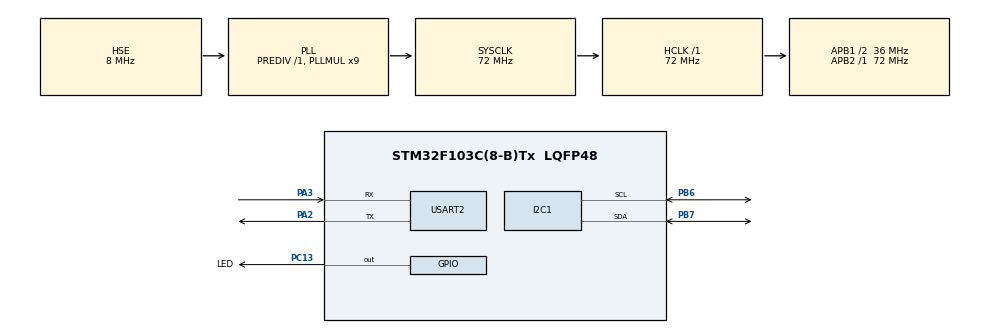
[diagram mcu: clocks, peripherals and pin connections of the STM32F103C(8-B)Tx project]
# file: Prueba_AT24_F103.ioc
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I2C1.DutyCycle=I2C_DUTYCYCLE_2
I2C1.I2C_Mode=I2C_Fast
Mcu.Family=STM32F1
Mcu.Name=STM32F103C(8-B)Tx
Mcu.Package=LQFP48
NVIC.PriorityGroup=NVIC_PRIORITYGROUP_4
PA13.Mode=Serial_Wire
PA13.Signal=SYS_JTMS-SWDIO
PA14.Mode=Serial_Wire
PA14.Signal=SYS_JTCK-SWCLK
PA2.Mode=Asynchronous
PA2.Signal=USART2_TX
PA3.Mode=Asynchronous
PA3.Signal=USART2_RX
PB6.Mode=I2C
PB6.Signal=I2C1_SCL
PB7.Mode=I2C
PB7.Signal=I2C1_SDA
PC13-TAMPER-RTC.GPIO_Label=LED
PC13-TAMPER-RTC.GPIO_ModeDefaultOutputPP=GPIO_MODE_OUTPUT_OD
PC13-TAMPER-RTC.GPIO_PuPd=GPIO_NOPULL
PC13-TAMPER-RTC.PinState=GPIO_PIN_SET
PC13-TAMPER-RTC.Signal=GPIO_Output
PD0-OSC_IN.Mode=HSE-External-Oscillator
PD0-OSC_IN.Signal=RCC_OSC_IN
PD1-OSC_OUT.Mode=HSE-External-Oscillator
PD1-OSC_OUT.Signal=RCC_OSC_OUT
ProjectManager.HeapSize=0x200
ProjectManager.StackSize=0x400
ProjectManager.TargetToolchain=STM32CubeIDE
RCC.AHBFreq_Value=72000000
RCC.APB1CLKDivider=RCC_HCLK_DIV2
RCC.APB1Freq_Value=36000000
RCC.APB1TimFreq_Value=72000000
RCC.APB2Freq_Value=72000000
RCC.APB2TimFreq_Value=72000000
RCC.HCLKFreq_Value=72000000
RCC.PLLMUL=RCC_PLL_MUL9
RCC.PLLSourceVirtual=RCC_PLLSOURCE_HSE
RCC.SYSCLKFreq_VALUE=72000000
RCC.SYSCLKSource=RCC_SYSCLKSOURCE_PLLCLK
RCC.USBFreq_Value=72000000
USART2.VirtualMode=VM_ASYNC
board=custom

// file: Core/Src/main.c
/* USER CODE BEGIN Header */
/**
  ******************************************************************************
  * @file           : main.c
  * @brief          : Main program body
  ******************************************************************************
  * @attention
  *
  * Copyright (c) 2024 STMicroelectronics.
  * All rights reserved.
  *
  * This software is licensed under terms that can be found in the LICENSE file
  * in the root directory of this software component.
  * If no LICENSE file comes with this software, it is provided AS-IS.
  *
  ******************************************************************************
  */
/* USER CODE END Header */
#include "main.h"

/* USER CODE BEGIN Includes */
#include "at24.h"
#include <stdio.h>
/* USER CODE END Includes */

I2C_HandleTypeDef hi2c1;

UART_HandleTypeDef huart2;

void SystemClock_Config(void);
static void MX_GPIO_Init(void);
static void MX_I2C1_Init(void);
static void MX_USART2_UART_Init(void);

/* USER CODE BEGIN 0 */
int _write(int fd, char* ptr, int len)
{
	HAL_UART_Transmit(&huart2, (uint8_t *) ptr, len, HAL_MAX_DELAY);
	return len;
}
/* USER CODE END 0 */

int main(void)
{
  /* USER CODE BEGIN 1 */

	const uint8_t device = 0xA0U; //Dirección del dispositivo

	int i;

  /* USER CODE END 1 */

  /* MCU Configuration--------------------------------------------------------*/

  /* Reset of all peripherals, Initializes the Flash interface and the Systick. */
  HAL_Init();

  /* Configure the system clock */
  SystemClock_Config();

  /* Initialize all configured peripherals */
  MX_GPIO_Init();
  MX_I2C1_Init();
  MX_USART2_UART_Init();
  /* USER CODE BEGIN 2 */

  printf("\n*** Programa de muestra en memoria ***\n\n");

  printf("Se van a guardar 8 bits en la memoria.\n");

  AT24_WriteByte(device, 0, 0x55U);

  for(i=1; i < 8; i++)
	  AT24_WriteByte(device, i, i);

  HAL_GPIO_WritePin(LED_GPIO_Port, LED_Pin, GPIO_PIN_RESET);

  printf("Se han a guardado los datos en la memoria.\n");

  /* USER CODE END 2 */

  /* Infinite loop */
  while (1)
  {

    /* USER CODE BEGIN 3 */
	  uint8_t dato;
	  printf("\nSe van a leer los datos en la memoria.\n");
	  for(i=0; i < 8; i++)
	  {
		  dato = AT24_ReadByte(device, i);
		  printf("Dato %d: 0x%.2X (%d)\n", i, dato, dato);
	  }

	  HAL_GPIO_TogglePin(LED_GPIO_Port, LED_Pin);
	  HAL_Delay(1000);
  }
  /* USER CODE END 3 */
}

void SystemClock_Config(void)
{
  RCC_OscInitTypeDef RCC_OscInitStruct = {0};
  RCC_ClkInitTypeDef RCC_ClkInitStruct = {0};

  /** Initializes the RCC Oscillators according to the specified parameters
  * in the RCC_OscInitTypeDef structure.
  */
  RCC_OscInitStruct.OscillatorType = RCC_OSCILLATORTYPE_HSE;
  RCC_OscInitStruct.HSEState = RCC_HSE_ON;
  RCC_OscInitStruct.HSEPredivValue = RCC_HSE_PREDIV_DIV1;
  RCC_OscInitStruct.HSIState = RCC_HSI_ON;
  RCC_OscInitStruct.PLL.PLLState = RCC_PLL_ON;
  RCC_OscInitStruct.PLL.PLLSource = RCC_PLLSOURCE_HSE;
  RCC_OscInitStruct.PLL.PLLMUL = RCC_PLL_MUL9;
  if (HAL_RCC_OscConfig(&RCC_OscInitStruct) != HAL_OK)
  {
    Error_Handler();
  }

  /** Initializes the CPU, AHB and APB buses clocks
  */
  RCC_ClkInitStruct.ClockType = RCC_CLOCKTYPE_HCLK|RCC_CLOCKTYPE_SYSCLK
                              |RCC_CLOCKTYPE_PCLK1|RCC_CLOCKTYPE_PCLK2;
  RCC_ClkInitStruct.SYSCLKSource = RCC_SYSCLKSOURCE_PLLCLK;
  RCC_ClkInitStruct.AHBCLKDivider = RCC_SYSCLK_DIV1;
  RCC_ClkInitStruct.APB1CLKDivider = RCC_HCLK_DIV2;
  RCC_ClkInitStruct.APB2CLKDivider = RCC_HCLK_DIV1;

  if (HAL_RCC_ClockConfig(&RCC_ClkInitStruct, FLASH_LATENCY_2) != HAL_OK)
  {
    Error_Handler();
  }
}

static void MX_I2C1_Init(void)
{

  hi2c1.Instance = I2C1;
  hi2c1.Init.ClockSpeed = 400000;
  hi2c1.Init.DutyCycle = I2C_DUTYCYCLE_2;
  hi2c1.Init.OwnAddress1 = 0;
  hi2c1.Init.AddressingMode = I2C_ADDRESSINGMODE_7BIT;
  hi2c1.Init.DualAddressMode = I2C_DUALADDRESS_DISABLE;
  hi2c1.Init.OwnAddress2 = 0;
  hi2c1.Init.GeneralCallMode = I2C_GENERALCALL_DISABLE;
  hi2c1.Init.NoStretchMode = I2C_NOSTRETCH_DISABLE;
  if (HAL_I2C_Init(&hi2c1) != HAL_OK)
  {
    Error_Handler();
  }

}

static void MX_USART2_UART_Init(void)
{

  huart2.Instance = USART2;
  huart2.Init.BaudRate = 115200;
  huart2.Init.WordLength = UART_WORDLENGTH_8B;
  huart2.Init.StopBits = UART_STOPBITS_1;
  huart2.Init.Parity = UART_PARITY_NONE;
  huart2.Init.Mode = UART_MODE_TX_RX;
  huart2.Init.HwFlowCtl = UART_HWCONTROL_NONE;
  huart2.Init.OverSampling = UART_OVERSAMPLING_16;
  if (HAL_UART_Init(&huart2) != HAL_OK)
  {
    Error_Handler();
  }

}

static void MX_GPIO_Init(void)
{
  GPIO_InitTypeDef GPIO_InitStruct = {0};

  /* GPIO Ports Clock Enable */
  __HAL_RCC_GPIOC_CLK_ENABLE();
  __HAL_RCC_GPIOD_CLK_ENABLE();
  __HAL_RCC_GPIOA_CLK_ENABLE();
  __HAL_RCC_GPIOB_CLK_ENABLE();

  /*Configure GPIO pin Output Level */
  HAL_GPIO_WritePin(LED_GPIO_Port, LED_Pin, GPIO_PIN_SET);

  /*Configure GPIO pin : LED_Pin */
  GPIO_InitStruct.Pin = LED_Pin;
  GPIO_InitStruct.Mode = GPIO_MODE_OUTPUT_OD;
  GPIO_InitStruct.Pull = GPIO_NOPULL;
  GPIO_InitStruct.Speed = GPIO_SPEED_FREQ_LOW;
  HAL_GPIO_Init(LED_GPIO_Port, &GPIO_InitStruct);

}

void Error_Handler(void)
{
  __disable_irq();
  while (1)
  {
  }
}
